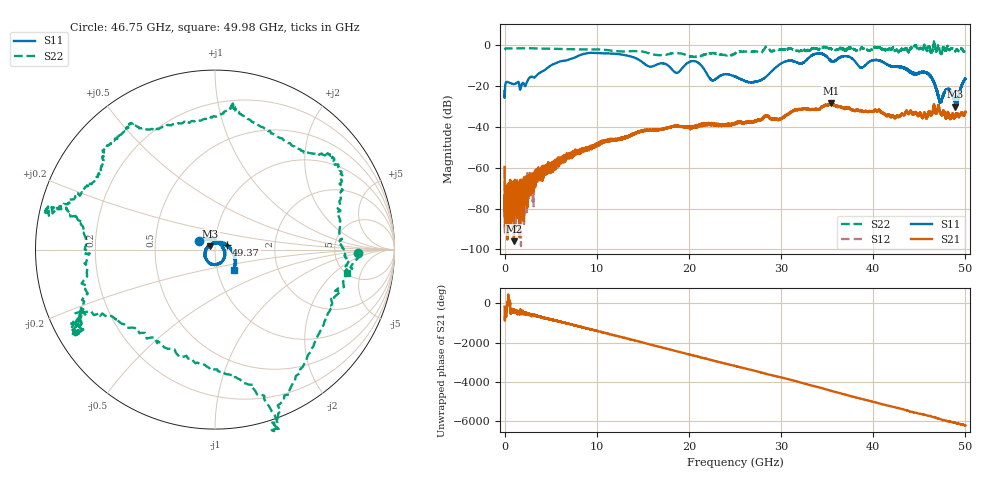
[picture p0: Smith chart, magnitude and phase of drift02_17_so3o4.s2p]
!Created with skrf (http://scikit-rf.org).
# Hz S RI R 50.0
!freq ReS11 ImS11 ReS21 ImS21 ReS12 ImS12 ReS22 ImS22
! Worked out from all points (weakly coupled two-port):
!   10001 points, 300 kHz to 50 GHz, reference 50 ohm
!   highest |S21| = -28.46 dB at 35.38 GHz (marker M1); lowest = -96.0 dB at 1.015 GHz (marker M2)
!   lowest |S11| = -30.0 dB at 48.9 GHz (marker M3), VSWR 1.07, Z = 47.4 + j1.7 ohm
!   |S11| at or under -10 dB: start of sweep to 4.957 GHz; 21.38 GHz to 29.63 GHz (8.257 GHz wide, 32.4 % of centre); 41.81 GHz to end of sweep (the widest 3 of 7)
!   |S22| runs from -5.7 to 2.4 dB; largest |S21 - S12| = 0.0031
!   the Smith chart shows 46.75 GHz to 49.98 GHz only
!   S11 on the Smith chart (normalised r, x): 46.75 GHz: 0.83, +0.08; 49.37 GHz: 1.14, +0.06; 49.98 GHz: 1.20, -0.28
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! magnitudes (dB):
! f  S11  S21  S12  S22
! 300 kHz  -22.4  -59.6  -66.8  -2.1
! 255.3 MHz  -17.9  -75.7  -76.7  -1.4
! 1.015 GHz  -18.9  -96.0  -79.6  -1.5
! 8.335 GHz  -4.5  -52.4  -51.9  -1.9
! 16.67 GHz  -9.1  -41.4  -41.4  -4.8
! 18.7 GHz  -13.5  -39.6  -39.5  -3.7
! 20.6 GHz  -7.7  -39.7  -39.9  -5.7
! 22.51 GHz  -17.2  -38.8  -38.6  -3.7
! 25 GHz  -15.3  -38.5  -38.1  -3.9
! 27.5 GHz  -17.6  -36.4  -36.7  -3.2
! 30.22 GHz  -8.3  -35.3  -35.2  -2.1
! 33.34 GHz  -4.9  -31.4  -31.4  -1.6
! 35.38 GHz  -7.5  -28.5  -28.7  -1.5
! 41.67 GHz  -9.8  -34.0  -34.1  -1.9
! 45.78 GHz  -13.4  -35.3  -35.5  -2.0
! 46.75 GHz  -19.7  -32.7  -32.2  -2.0
! 47.25 GHz  -28.1  -32.9  -33.0  -3.1
! 48.14 GHz  -21.4  -33.5  -33.3  -0.8
! 48.9 GHz  -30.0  -34.4  -35.0  -2.8
! 49.37 GHz  -23.1  -34.5  -34.1  -2.8
! 49.98 GHz  -16.2  -32.7  -32.7  -2.5
! 50 GHz  -16.3  -32.5  -33.1  -2.6
